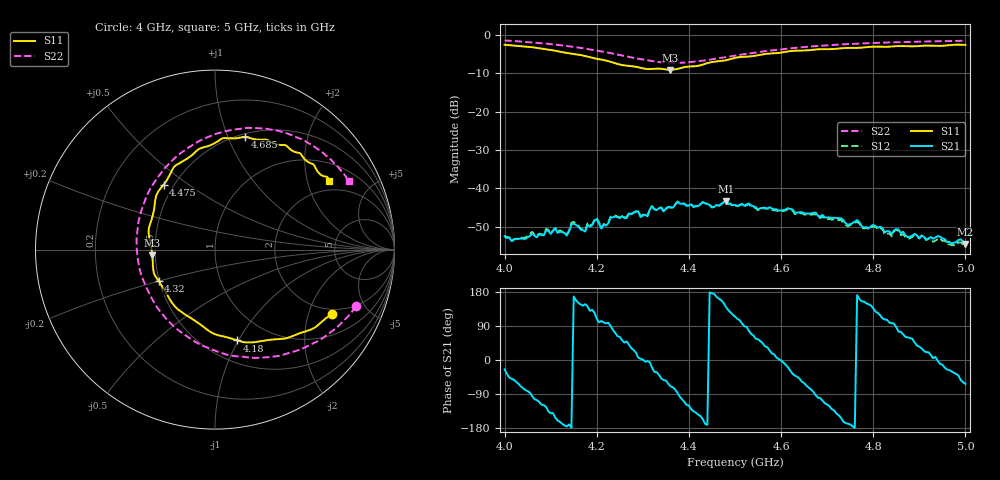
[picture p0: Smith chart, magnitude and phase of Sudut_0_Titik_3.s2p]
# Hz S RI R 50
! CMT, C1220, 16058040, 17.2.0/1
! Date: 15/08/2018 12:36:30
! Data: Format (Calibration Info)
! Freq  S11: Re/Im (F2)  S21: Re/Im (F2)  S12: Re/Im (F2)  S22: Re/Im (F2)
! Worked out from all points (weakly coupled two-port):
!   201 points, 4 GHz to 5 GHz, reference 50 ohm
!   highest |S21| = -43.42 dB at 4.48 GHz (marker M1); lowest = -54.5 dB at 5 GHz (marker M2)
!   lowest |S11| = -9.1 dB at 4.36 GHz (marker M3), VSWR 2.08, Z = 24.1 - j1.79 ohm
!   |S11| at or under -10 dB: nowhere
!   |S22| runs from -7.3 to -1.4 dB; largest |S21 - S12| = 0.00026
!   S11 on the Smith chart (normalised r, x): 4 GHz: 1.79, -2.86; 4.18 GHz: 0.71, -0.99; 4.32 GHz: 0.50, -0.20; 4.475 GHz: 0.44, +0.41; 4.685 GHz: 0.53, +1.16; 5 GHz: 1.60, +2.73
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4e9  0.651 -0.3586  0.00215 -0.000986  0.00219 -0.000982  0.7847 -0.3168
4.015e9  0.6254 -0.3766  0.00134 -0.00157  0.00137 -0.00148  0.7591 -0.3517
4.11e9  0.3702 -0.4977  -0.00268 -0.00142  -0.00266 -0.00151  0.5191 -0.5362
4.135e9  0.2872 -0.5056  -0.00242 -0.000204  -0.00253 -0.000326  0.4334 -0.5698
4.15e9  0.2288 -0.5148  -0.0034 0.000749  -0.00359 0.000732  0.3775 -0.5863
4.17e9  0.1578 -0.5152  -0.00229 0.00169  -0.00237 0.00172  0.2999 -0.5991
4.18e9  0.1249 -0.5063  -0.00262 0.0021  -0.00277 0.00215  0.2575 -0.6017
4.2e9  0.0531 -0.485  -0.00129 0.00373  -0.00139 0.00387  0.1727 -0.5993
4.21e9  0.0155 -0.4764  -0.00067 0.00291  -0.000698 0.003  0.1293 -0.595
4.23e9  -0.0479 -0.4426  1.09e-05 0.0042  -2.94e-05 0.00427  0.0399 -0.5772
4.29e9  -0.2433 -0.2902  0.005 0.000566  0.005 0.00053  -0.2142 -0.4406
4.31e9  -0.2888 -0.2128  0.0043 -0.000209  0.00438 -0.000262  -0.2855 -0.3691
4.32e9  -0.3141 -0.1764  0.00545 -0.00202  0.00553 -0.00208  -0.318 -0.3285
4.335e9  -0.3414 -0.1267  0.00425 -0.00345  0.00425 -0.00357  -0.3571 -0.2614
4.36e9  -0.3486 -0.0326  0.00198 -0.00528  0.00198 -0.0053  -0.4101 -0.1436
4.475e9  -0.2866 0.362  -0.00577 0.00319  -0.00559 0.00335  -0.3305 0.385
4.48e9  -0.2745 0.3768  -0.00521 0.00429  -0.00506 0.00437  -0.3184 0.4033
4.5e9  -0.2407 0.4395  -0.00255 0.00554  -0.00248 0.00547  -0.2696 0.4646
4.67e9  0.1431 0.6245  0.000523 -0.00476  0.000409 -0.00457  0.2124 0.6778
4.685e9  0.1689 0.6286  -0.000782 -0.00422  -0.000785 -0.00403  0.2521 0.6759
4.835e9  0.4436 0.5441  -0.000423 0.00273  -0.000469 0.00256  0.555 0.5723
5e9  0.6338 0.3842  0.00085 -0.00169  0.000774 -0.00159  0.7479 0.3797
